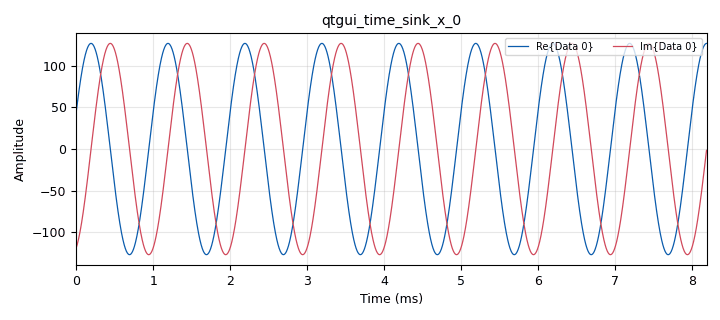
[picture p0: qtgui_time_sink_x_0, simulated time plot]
options:
  parameters:
    author: Microsoft
    generate_options: qt_gui
    id: DIFI_STAND_ALONE_EXAMPLE
    output_language: python
    title: DIFI Standalone Example
  states: {}

blocks:
- name: amplitude
  id: variable
  parameters:
    value: '127'
  states: {}
- name: samp_rate
  id: variable
  parameters:
    value: '500000'
  states: {}
- name: analog_sig_source_x_0
  id: analog_sig_source_x
  parameters:
    amp: amplitude
    freq: '1000'
    offset: '0'
    phase: '0'
    samp_rate: samp_rate
    type: complex
    waveform: analog.GR_SIN_WAVE
  states: {}
- name: blocks_complex_to_interleaved_char_0
  id: blocks_complex_to_interleaved_char
  parameters:
    scale_factor: '1.0'
    vector_output: 'True'
  states: {}
- name: blocks_throttle2_0
  id: blocks_throttle2
  parameters:
    samples_per_second: samp_rate
    type: complex
  states: {}
- name: difi_sink_cpp_0
  id: difi_sink_cpp
  parameters:
    bit_depth: '8'
    context_pack_size: '108'
    context_packet_send_count: '1000'
    data_size: '128'
    ip_addr: 127.0.0.1
    port: '50003'
    protocol: '2'
    sample_rate: samp_rate
    stream_id: '0'
  states: {}
- name: difi_source_cpp_0_0
  id: difi_source_cpp
  parameters:
    bit_depth: '8'
    context_behavior: '0'
    ip_addr: 127.0.0.1
    port: '50003'
    protocol: '2'
    stream_num: '0'
    type: complex
  states: {}
- name: qtgui_time_sink_x_0
  id: qtgui_time_sink_x
  parameters:
    autoscale: 'True'
    size: '4096'
    srate: samp_rate
    type: complex
  states: {}
- name: qtgui_time_sink_x_0_0
  id: qtgui_time_sink_x
  parameters:
    autoscale: 'True'
    size: '4096'
    srate: samp_rate
    type: complex
  states: {}

connections:
- [analog_sig_source_x_0, '0', blocks_throttle2_0, '0']
- [blocks_complex_to_interleaved_char_0, '0', difi_sink_cpp_0, '0']
- [blocks_throttle2_0, '0', blocks_complex_to_interleaved_char_0, '0']
- [blocks_throttle2_0, '0', qtgui_time_sink_x_0, '0']
- [difi_source_cpp_0_0, '0', qtgui_time_sink_x_0_0, '0']

metadata:
  file_format: 1
  grc_version: 3.10.9.2
